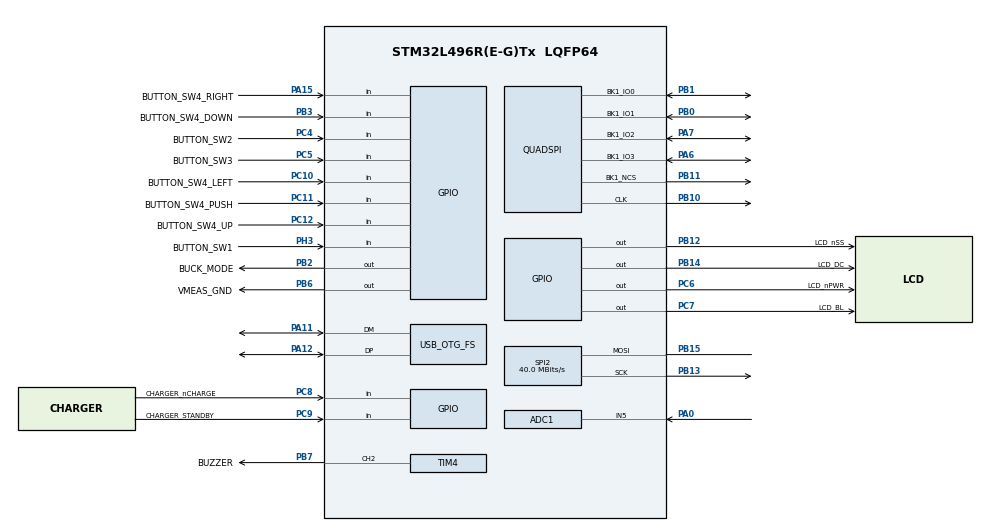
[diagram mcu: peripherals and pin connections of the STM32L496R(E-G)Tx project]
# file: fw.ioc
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ADC1.Channel-1\#ChannelRegularConversion=ADC_CHANNEL_5
ADC1.Channel-2\#ChannelRegularConversion=ADC_CHANNEL_VREFINT
ADC1.ClockPrescaler=ADC_CLOCK_ASYNC_DIV16
ADC1.ContinuousConvMode=ENABLE
ADC1.NbrOfConversion=2
ADC1.NbrOfConversionFlag=1
ADC1.OffsetNumber-1\#ChannelRegularConversion=ADC_OFFSET_NONE
ADC1.OffsetNumber-2\#ChannelRegularConversion=ADC_OFFSET_NONE
ADC1.Rank-1\#ChannelRegularConversion=1
ADC1.Rank-2\#ChannelRegularConversion=2
ADC1.SamplingTime-1\#ChannelRegularConversion=ADC_SAMPLETIME_640CYCLES_5
ADC1.SamplingTime-2\#ChannelRegularConversion=ADC_SAMPLETIME_640CYCLES_5
ADC1.master=1
Dma.Request0=SPI2_TX
Dma.SPI2_TX.0.Direction=DMA_MEMORY_TO_PERIPH
Dma.SPI2_TX.0.Instance=DMA1_Channel5
Dma.SPI2_TX.0.MemDataAlignment=DMA_MDATAALIGN_BYTE
Dma.SPI2_TX.0.MemInc=DMA_MINC_ENABLE
Dma.SPI2_TX.0.Mode=DMA_CIRCULAR
Dma.SPI2_TX.0.PeriphDataAlignment=DMA_PDATAALIGN_BYTE
Dma.SPI2_TX.0.PeriphInc=DMA_PINC_DISABLE
Dma.SPI2_TX.0.Priority=DMA_PRIORITY_HIGH
Mcu.Family=STM32L4
Mcu.Name=STM32L496R(E-G)Tx
Mcu.Package=LQFP64
NVIC.DMA1_Channel5_IRQn=true\:0\:0\:false\:false\:true\:false\:true\:true
NVIC.OTG_FS_IRQn=true\:0\:0\:false\:false\:true\:true\:true\:true
NVIC.PriorityGroup=NVIC_PRIORITYGROUP_4
PA0.Signal=ADCx_IN5
PA11.Mode=Device_Only
PA11.Signal=USB_OTG_FS_DM
PA12.Mode=Device_Only
PA12.Signal=USB_OTG_FS_DP
PA13\ (JTMS/SWDIO).Mode=Serial_Wire
PA13\ (JTMS/SWDIO).Signal=SYS_JTMS-SWDIO
PA14\ (JTCK/SWCLK).Mode=Serial_Wire
PA14\ (JTCK/SWCLK).Signal=SYS_JTCK-SWCLK
PA15\ (JTDI).GPIO_Label=BUTTON_SW4_RIGHT
PA15\ (JTDI).GPIO_PuPd=GPIO_PULLUP
PA15\ (JTDI).Signal=GPIO_Input
PA6.GPIO_PuPd=GPIO_PULLUP
PA6.Mode=Single Bank 1
PA6.Signal=QUADSPI_BK1_IO3
PA7.GPIO_PuPd=GPIO_PULLUP
PA7.Mode=Single Bank 1
PA7.Signal=QUADSPI_BK1_IO2
PB0.GPIO_PuPd=GPIO_PULLUP
PB0.Mode=Single Bank 1
PB0.Signal=QUADSPI_BK1_IO1
PB1.GPIO_PuPd=GPIO_PULLUP
PB1.Mode=Single Bank 1
PB1.Signal=QUADSPI_BK1_IO0
PB10.Mode=Single Bank 1
PB10.Signal=QUADSPI_CLK
PB11.Mode=Single Bank 1
PB11.Signal=QUADSPI_BK1_NCS
PB12.GPIO_Label=LCD_nSS
PB12.GPIO_Speed=GPIO_SPEED_FREQ_VERY_HIGH
PB12.PinState=GPIO_PIN_SET
PB12.Signal=GPIO_Output
PB13.Mode=Simplex_Bidirectional_Master
PB13.Signal=SPI2_SCK
PB14.GPIO_Label=LCD_DC
PB14.Signal=GPIO_Output
PB15.Mode=Simplex_Bidirectional_Master
PB15.Signal=SPI2_MOSI
PB2.GPIO_Label=BUCK_MODE
PB2.GPIO_Speed=GPIO_SPEED_FREQ_MEDIUM
PB2.Signal=GPIO_Output
PB3\ (JTDO/TRACESWO).GPIO_Label=BUTTON_SW4_DOWN
PB3\ (JTDO/TRACESWO).GPIO_PuPd=GPIO_PULLUP
PB3\ (JTDO/TRACESWO).Signal=GPIO_Input
PB6.GPIO_Label=VMEAS_GND
PB6.GPIO_ModeDefaultOutputPP=GPIO_MODE_OUTPUT_OD
PB6.GPIO_PuPd=GPIO_NOPULL
PB6.GPIO_Speed=GPIO_SPEED_FREQ_VERY_HIGH
PB6.PinState=GPIO_PIN_SET
PB6.Signal=GPIO_Output
PB7.GPIO_Label=BUZZER
PB7.GPIO_Speed=GPIO_SPEED_FREQ_HIGH
PB7.Signal=S_TIM4_CH2
PC10.GPIO_Label=BUTTON_SW4_LEFT
PC10.GPIO_PuPd=GPIO_PULLUP
PC10.Signal=GPIO_Input
PC11.GPIO_Label=BUTTON_SW4_PUSH
PC11.GPIO_PuPd=GPIO_PULLUP
PC11.Signal=GPIO_Input
PC12.GPIO_Label=BUTTON_SW4_UP
PC12.GPIO_PuPd=GPIO_PULLUP
PC12.Signal=GPIO_Input
PC14-OSC32_IN\ (PC14).Mode=LSE-External-Oscillator
PC14-OSC32_IN\ (PC14).Signal=RCC_OSC32_IN
PC15-OSC32_OUT\ (PC15).Mode=LSE-External-Oscillator
PC15-OSC32_OUT\ (PC15).Signal=RCC_OSC32_OUT
PC4.GPIO_Label=BUTTON_SW2
PC4.GPIO_PuPd=GPIO_PULLUP
PC4.Signal=GPIO_Input
PC5.GPIO_Label=BUTTON_SW3
PC5.GPIO_PuPd=GPIO_PULLUP
PC5.Signal=GPIO_Input
PC6.GPIO_Label=LCD_nPWR
PC6.GPIO_ModeDefaultOutputPP=GPIO_MODE_OUTPUT_OD
PC6.GPIO_PuPd=GPIO_NOPULL
PC6.GPIO_Speed=GPIO_SPEED_FREQ_MEDIUM
PC6.PinState=GPIO_PIN_SET
PC6.Signal=GPIO_Output
PC7.GPIO_Label=LCD_BL
PC7.GPIO_Speed=GPIO_SPEED_FREQ_MEDIUM
PC7.Signal=GPIO_Output
PC8.GPIO_Label=CHARGER_nCHARGE
PC8.GPIO_PuPd=GPIO_PULLUP
PC8.Signal=GPIO_Input
PC9.GPIO_Label=CHARGER_STANDBY
PC9.GPIO_PuPd=GPIO_PULLUP
PC9.Signal=GPIO_Input
PH3-BOOT0.GPIO_Label=BUTTON_SW1
PH3-BOOT0.GPIO_ModeDefaultEXTI=GPIO_MODE_IT_RISING
PH3-BOOT0.GPIO_PuPd=GPIO_PULLDOWN
PH3-BOOT0.Signal=GPIO_Input
ProjectManager.HeapSize=0x100
ProjectManager.StackSize=0x800
ProjectManager.TargetToolchain=STM32CubeIDE
QUADSPI.ClockPrescaler=15
QUADSPI.FifoThreshold=4
QUADSPI.FlashSize=20
QUADSPI.SampleShifting=QSPI_SAMPLE_SHIFTING_NONE
RCC.ADCFreq_Value=48000000
RCC.AHBFreq_Value=80000000
RCC.APB1Freq_Value=80000000
RCC.APB1TimFreq_Value=80000000
RCC.APB2Freq_Value=80000000
RCC.APB2TimFreq_Value=80000000
RCC.CortexFreq_Value=80000000
RCC.HCLKFreq_Value=80000000
RCC.HSE_VALUE=8000000
RCC.HSI48_VALUE=48000000
RCC.HSI_VALUE=16000000
RCC.MSI_VALUE=4000000
RCC.PLLN=40
RCC.PLLSAI1N=24
RCC.RTCClockSelection=RCC_RTCCLKSOURCE_LSE
RCC.SYSCLKFreq_VALUE=80000000
RCC.SYSCLKSource=RCC_SYSCLKSOURCE_PLLCLK
RCC.USBFreq_Value=48000000
RCC.VCOOutputFreq_Value=160000000
RCC.VDD_VALUE=3
RTC.Date=25
RTC.DayLightSaving=RTC_DAYLIGHTSAVING_NONE
RTC.Format=RTC_FORMAT_BIN
RTC.Hours=12
RTC.Month=RTC_MONTH_MAY
RTC.StoreOperation=RTC_STOREOPERATION_SET
RTC.Year=26
SH.ADCx_IN5.0=ADC1_IN5,IN5-Single-Ended
SH.S_TIM4_CH2.0=TIM4_CH2,PWM Generation2 CH2
SPI2.BaudRatePrescaler=SPI_BAUDRATEPRESCALER_2
SPI2.CLKPolarity=SPI_POLARITY_HIGH
SPI2.CalculateBaudRate=40.0 MBits/s
SPI2.DataSize=SPI_DATASIZE_8BIT
SPI2.Direction=SPI_DIRECTION_1LINE
SPI2.Mode=SPI_MODE_MASTER
SPI2.VirtualType=VM_MASTER
TIM4.Channel-PWM\ Generation2\ CH2=TIM_CHANNEL_2
USB_OTG_FS.VirtualMode=Device_Only
VP_ADC1_Vref_Input.Mode=IN-Vrefint
VP_RTC_VS_RTC_Activate.Mode=RTC_Enabled
VP_RTC_VS_RTC_Calendar.Mode=RTC_Calendar
board=custom

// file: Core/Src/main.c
/* USER CODE BEGIN Header */
/**
  ******************************************************************************
  * @file           : main.c
  * @brief          : Main program body
  ******************************************************************************
  * @attention
  *
  * Copyright (c) 2026 STMicroelectronics.
  * All rights reserved.
  *
  * This software is licensed under terms that can be found in the LICENSE file
  * in the root directory of this software component.
  * If no LICENSE file comes with this software, it is provided AS-IS.
  *
  ******************************************************************************
  */
/* USER CODE END Header */
#include "main.h"
#include "adc.h"
#include "dma.h"
#include "quadspi.h"
#include "rtc.h"
#include "spi.h"
#include "tim.h"
#include "usb_otg.h"
#include "gpio.h"

/* USER CODE BEGIN Includes */
#include <stdio.h>
#include "types.h"
#include "buttons.h"
#include "buzzer.h"
#include "housekeeping.h"
#include "lcd.h"
#include "tasks.h"
#include "task_clock.h"

/* USER CODE END Includes */

void SystemClock_Config(void);
void PeriphCommonClock_Config(void);

int main(void)
{

  /* MCU Configuration--------------------------------------------------------*/

  /* Reset of all peripherals, Initializes the Flash interface and the Systick. */
  HAL_Init();

  /* Configure the system clock */
  SystemClock_Config();

  /* Configure the peripherals common clocks */
  PeriphCommonClock_Config();

  /* USER CODE BEGIN SysInit */
  Housekeeping_Init();  // Early init so it can check for reset cause, etc.

  /* USER CODE END SysInit */

  /* Initialize all configured peripherals */
  MX_GPIO_Init();
  MX_DMA_Init();
  MX_ADC1_Init();
  MX_QUADSPI_Init();
  MX_SPI2_Init();
  MX_TIM4_Init();
  MX_RTC_Init();
  MX_USB_OTG_FS_PCD_Init();
  /* USER CODE BEGIN 2 */
  // Initialize drivers
  Buttons_Init();
  Buzzer_Init();
  LCD_Init();
  Tasks_Init();

  // Wait for wakeup to be released
  while( GPIO_PIN_RESET == HAL_GPIO_ReadPin( BUTTON_SW3_GPIO_Port, BUTTON_SW3_Pin ) );
  HAL_Delay( 100u );  // debounce
  (void)Buttons_GetEvent( BUTTON_SW3 );  // clear event

  /* USER CODE END 2 */

  /* Infinite loop */
  while (1)
  {

    /* USER CODE BEGIN 3 */
    // System tasks
    Housekeeping_Cycle();
    Buzzer_Cycle();

    // RTC alarms check
    if( HAL_OK == HAL_RTC_PollForAlarmAEvent( &hrtc, 0u ) )
    {
      Task_Clock_AlarmIT( TASK_CLOCK_ALARM_A );
    }
    if( HAL_OK == HAL_RTCEx_PollForAlarmBEvent( &hrtc, 0u ) )
    {
      Task_Clock_AlarmIT( TASK_CLOCK_ALARM_B );
    }

    // Program tasks
    Tasks_Cycle();
  }
  /* USER CODE END 3 */
}

void SystemClock_Config(void)
{
  LL_FLASH_SetLatency(LL_FLASH_LATENCY_4);
  while(LL_FLASH_GetLatency()!= LL_FLASH_LATENCY_4)
  {
  }
  LL_PWR_SetRegulVoltageScaling(LL_PWR_REGU_VOLTAGE_SCALE1);
  while (LL_PWR_IsActiveFlag_VOS() != 0)
  {
  }
  LL_RCC_MSI_Enable();

   /* Wait till MSI is ready */
  while(LL_RCC_MSI_IsReady() != 1)
  {

  }
  LL_RCC_MSI_EnableRangeSelection();
  LL_RCC_MSI_SetRange(LL_RCC_MSIRANGE_6);
  LL_RCC_MSI_SetCalibTrimming(0);
  LL_PWR_EnableBkUpAccess();
  LL_RCC_LSE_SetDriveCapability(LL_RCC_LSEDRIVE_LOW);
  LL_RCC_LSE_Enable();

   /* Wait till LSE is ready */
  while(LL_RCC_LSE_IsReady() != 1)
  {

  }
  LL_RCC_MSI_EnablePLLMode();
  LL_RCC_PLL_ConfigDomain_SYS(LL_RCC_PLLSOURCE_MSI, LL_RCC_PLLM_DIV_1, 40, LL_RCC_PLLR_DIV_2);
  LL_RCC_PLL_EnableDomain_SYS();
  LL_RCC_PLL_Enable();

   /* Wait till PLL is ready */
  while(LL_RCC_PLL_IsReady() != 1)
  {

  }
  LL_RCC_SetSysClkSource(LL_RCC_SYS_CLKSOURCE_PLL);

   /* Wait till System clock is ready */
  while(LL_RCC_GetSysClkSource() != LL_RCC_SYS_CLKSOURCE_STATUS_PLL)
  {

  }
  LL_RCC_SetAHBPrescaler(LL_RCC_SYSCLK_DIV_1);
  LL_RCC_SetAPB1Prescaler(LL_RCC_APB1_DIV_1);
  LL_RCC_SetAPB2Prescaler(LL_RCC_APB2_DIV_1);
  LL_SetSystemCoreClock(80000000);

   /* Update the time base */
  if (HAL_InitTick (TICK_INT_PRIORITY) != HAL_OK)
  {
    Error_Handler();
  }
}

void PeriphCommonClock_Config(void)
{
  LL_RCC_PLLSAI1_ConfigDomain_48M(LL_RCC_PLLSOURCE_MSI, LL_RCC_PLLM_DIV_1, 24, LL_RCC_PLLSAI1Q_DIV_2);
  LL_RCC_PLLSAI1_ConfigDomain_ADC(LL_RCC_PLLSOURCE_MSI, LL_RCC_PLLM_DIV_1, 24, LL_RCC_PLLSAI1R_DIV_2);
  LL_RCC_PLLSAI1_EnableDomain_48M();
  LL_RCC_PLLSAI1_EnableDomain_ADC();
  LL_RCC_PLLSAI1_Enable();

   /* Wait till PLLSAI1 is ready */
  while(LL_RCC_PLLSAI1_IsReady() != 1)
  {

  }
}

void Error_Handler(void)
{
  __disable_irq();
  while (1)
  {
  }
}
